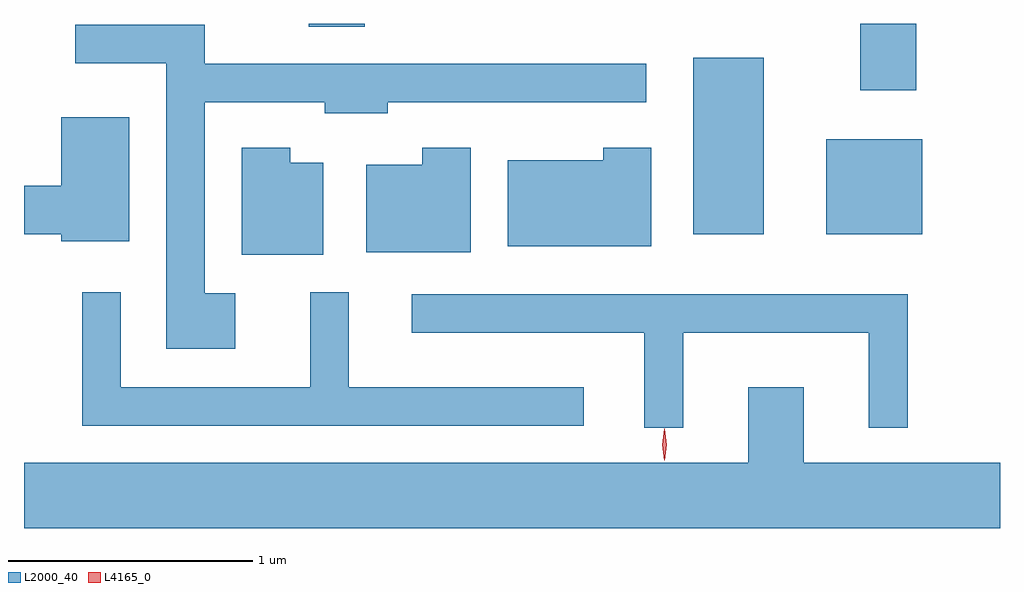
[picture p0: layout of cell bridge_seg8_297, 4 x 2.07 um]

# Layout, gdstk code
import gdstk
lib = gdstk.Library(unit=1e-6, precision=1e-09)
def R(c, l, rs):  # rectangles x0, y0, x1, y1
    for r in rs: c.add(gdstk.rectangle(r[:2], r[2:], *l))
def P(c, l, *ps):  # polygons
    for p in ps: c.add(gdstk.Polygon(p, *l))
L2000_40 = (2000, 40)
L4165_0 = (4165, 0)

bridge_seg8_297 = lib.new_cell('bridge_seg8_297')
R(bridge_seg8_297, L2000_40, [(1412.616,1866.481,1412.904,1867.204), (1413.161,1866.481,1413.554,1866.869), (1413.301,1867.071,1413.529,1867.342), (1411.041,1867.331,1411.269,1867.342)])
P(bridge_seg8_297, L2000_40, [(1410.739,1866.239),(1410.614,1866.239),(1410.614,1867.021),(1411.106,1867.021),(1411.106,1866.976),(1411.364,1866.976),(1411.364,1867.021),(1412.423,1867.021),(1412.423,1867.179),(1410.614,1867.179),(1410.614,1867.339),(1410.083,1867.339),(1410.083,1867.181),(1410.456,1867.181),(1410.456,1866.011),(1410.739,1866.011)],
  [(1410.304,1866.959),(1410.026,1866.959),(1410.026,1866.679),(1409.873,1866.679),(1409.873,1866.481),(1410.026,1866.481),(1410.026,1866.451),(1410.304,1866.451)],
  [(1412.444,1866.834),(1412.246,1866.834),(1412.246,1866.784),(1411.856,1866.784),(1411.856,1866.431),(1412.444,1866.431)],
  [(1411.704,1866.834),(1411.506,1866.834),(1411.506,1866.764),(1411.276,1866.764),(1411.276,1866.406),(1411.704,1866.406)],
  [(1411.099,1866.774),(1410.964,1866.774),(1410.964,1866.834),(1410.766,1866.834),(1410.766,1866.396),(1411.099,1866.396)],
  [(1412.168,1865.854),(1411.204,1865.854),(1411.204,1866.243),(1411.046,1866.243),(1411.046,1865.854),(1410.269,1865.854),(1410.269,1866.243),(1410.111,1866.243),(1410.111,1865.696),(1412.168,1865.696)],
  [(1412.574,1866.076),(1413.336,1866.076),(1413.336,1865.688),(1413.494,1865.688),(1413.494,1866.234),(1411.463,1866.234),(1411.463,1866.076),(1412.416,1866.076),(1412.416,1865.688),(1412.574,1865.688)],
  [(1413.873,1865.544),(1413.069,1865.544),(1413.069,1865.854),(1412.841,1865.854),(1412.841,1865.544),(1409.873,1865.544),(1409.873,1865.276),(1413.873,1865.276)])
P(bridge_seg8_297, L4165_0, [(1412.497,1865.553),(1412.488,1865.617),(1412.497,1865.682),(1412.498,1865.682),(1412.498,1865.682),(1412.508,1865.617),(1412.498,1865.553),(1412.498,1865.553)])

lib.write_gds('bridge_seg8_297.gds')
